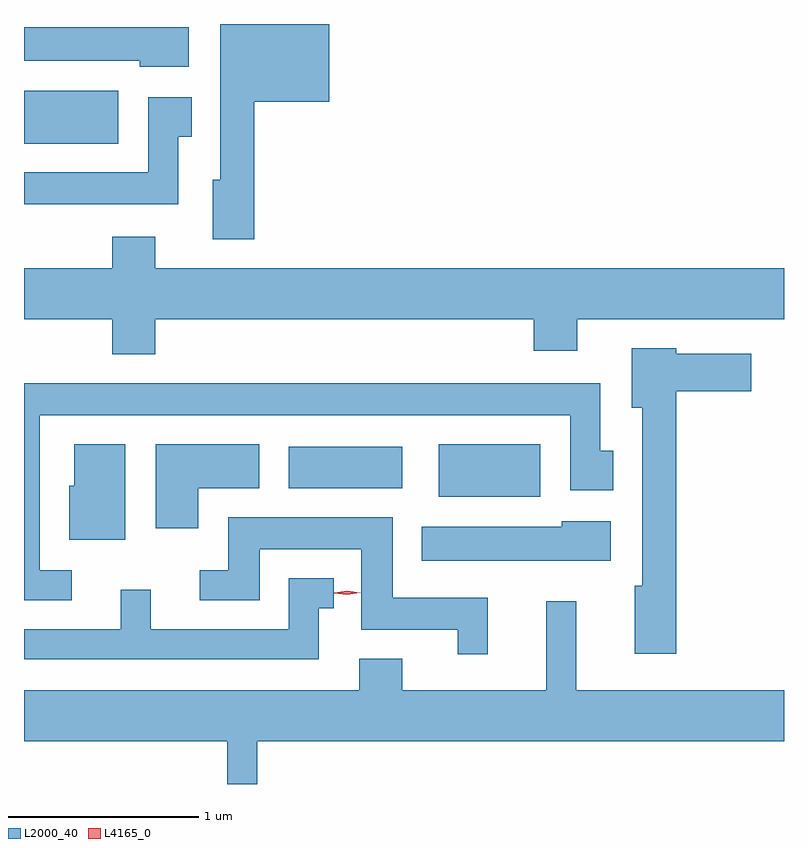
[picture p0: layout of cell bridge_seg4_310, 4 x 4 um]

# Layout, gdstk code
import gdstk
lib = gdstk.Library(unit=1e-6, precision=1e-09)
def R(c, l, rs):  # rectangles x0, y0, x1, y1
    for r in rs: c.add(gdstk.rectangle(r[:2], r[2:], *l))
def P(c, l, *ps):  # polygons
    for p in ps: c.add(gdstk.Polygon(p, *l))
L2000_40 = (2000, 40)
L4165_0 = (4165, 0)

bridge_seg4_310 = lib.new_cell('bridge_seg4_310')
R(bridge_seg4_310, L2000_40, [(511.731,1271.601,512.264,1271.879), (510.941,1271.646,511.539,1271.864), (509.547,1273.461,510.044,1273.739)])
P(bridge_seg4_310, L2000_40, [(510.759,1273.681),(511.154,1273.681),(511.154,1274.09),(510.581,1274.09),(510.581,1273.269),(510.541,1273.269),(510.541,1272.956),(510.759,1272.956)],
  [(510.414,1274.074),(509.547,1274.074),(509.547,1273.896),(510.156,1273.896),(510.156,1273.866),(510.414,1273.866)],
  [(510.359,1273.496),(510.429,1273.496),(510.429,1273.704),(510.201,1273.704),(510.201,1273.309),(509.547,1273.309),(509.547,1273.141),(510.359,1273.141)],
  [(510.239,1272.536),(512.231,1272.536),(512.231,1272.371),(512.459,1272.371),(512.459,1272.536),(513.547,1272.536),(513.547,1272.804),(510.239,1272.804),(510.239,1272.969),(510.011,1272.969),(510.011,1272.804),(509.547,1272.804),(509.547,1272.536),(510.011,1272.536),(510.011,1272.351),(510.239,1272.351)],
  [(512.979,1272.156),(513.374,1272.156),(513.374,1272.354),(512.979,1272.354),(512.979,1272.384),(512.746,1272.384),(512.746,1272.071),(512.801,1272.071),(512.801,1271.134),(512.761,1271.134),(512.761,1270.776),(512.979,1270.776)],
  [(509.798,1271.214),(509.629,1271.214),(509.629,1272.031),(512.421,1272.031),(512.421,1271.636),(512.649,1271.636),(512.649,1271.844),(512.579,1271.844),(512.579,1272.199),(509.547,1272.199),(509.547,1271.056),(509.798,1271.056)],
  [(510.464,1271.646),(510.784,1271.646),(510.784,1271.879),(510.241,1271.879),(510.241,1271.436),(510.464,1271.436)],
  [(510.079,1271.879),(509.811,1271.879),(509.811,1271.659),(509.786,1271.659),(509.786,1271.376),(510.079,1271.376)],
  [(511.989,1271.069),(511.489,1271.069),(511.489,1271.494),(510.621,1271.494),(510.621,1271.214),(510.473,1271.214),(510.473,1271.056),(510.789,1271.056),(510.789,1271.326),(511.321,1271.326),(511.321,1270.901),(511.831,1270.901),(511.831,1270.773),(511.989,1270.773)],
  [(512.634,1271.474),(512.376,1271.474),(512.376,1271.444),(511.641,1271.444),(511.641,1271.266),(512.634,1271.266)],
  [(511.099,1271.016),(511.178,1271.016),(511.178,1271.174),(510.941,1271.174),(510.941,1270.904),(510.214,1270.904),(510.214,1271.113),(510.056,1271.113),(510.056,1270.904),(509.547,1270.904),(509.547,1270.746),(511.099,1270.746)],
  [(510.774,1270.316),(513.547,1270.316),(513.547,1270.584),(512.454,1270.584),(512.454,1271.053),(512.296,1271.053),(512.296,1270.584),(511.539,1270.584),(511.539,1270.749),(511.311,1270.749),(511.311,1270.584),(509.547,1270.584),(509.547,1270.316),(510.616,1270.316),(510.616,1270.09),(510.774,1270.09)])
P(bridge_seg4_310, L4165_0, [(511.248,1271.086),(511.179,1271.095),(511.179,1271.096),(511.179,1271.096),(511.248,1271.106),(511.318,1271.097),(511.318,1271.096),(511.318,1271.096)])

lib.write_gds('bridge_seg4_310.gds')
